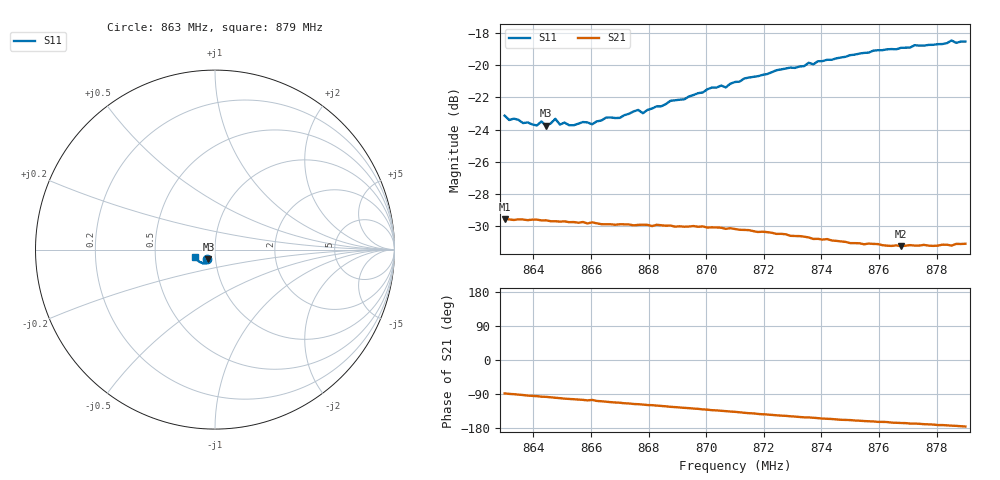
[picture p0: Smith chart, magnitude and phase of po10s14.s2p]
# HZ S RI R 50
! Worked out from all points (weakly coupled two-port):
!   101 points, 863 MHz to 879 MHz, reference 50 ohm
!   highest |S21| = -29.57 dB at 863 MHz (marker M1); lowest = -31.3 dB at 876.76 MHz (marker M2)
!   lowest |S11| = -23.8 dB at 864.44 MHz (marker M3), VSWR 1.14, Z = 46.2 - j4.99 ohm
!   |S11| at or under -10 dB: start of sweep to end of sweep
!   S12 and S22 are empty: the file has one direction only
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8.63e8  -0.0442 -0.0538  0.00105 -0.0332  0 0  0 0
8.6316e8  -0.0431 -0.052  0.000333 -0.0332  0 0  0 0
8.6412e8  -0.0377 -0.0529  -0.0031 -0.033  0 0  0 0
8.6428e8  -0.0379 -0.055  -0.00392 -0.0327  0 0  0 0
8.6444e8  -0.0363 -0.0537  -0.00419 -0.0327  0 0  0 0
8.6476e8  -0.039 -0.0558  -0.00549 -0.0323  0 0  0 0
8.6492e8  -0.0361 -0.0545  -0.00606 -0.0321  0 0  0 0
8.6572e8  -0.0338 -0.0574  -0.00854 -0.0314  0 0  0 0
8.6604e8  -0.0304 -0.058  -0.00858 -0.0313  0 0  0 0
8.6652e8  -0.0334 -0.06  -0.011 -0.0301  0 0  0 0
8.67e8  -0.0325 -0.0604  -0.0124 -0.0295  0 0  0 0
8.6764e8  -0.0349 -0.0636  -0.0143 -0.0285  0 0  0 0
8.678e8  -0.0332 -0.0626  -0.0148 -0.0283  0 0  0 0
8.6844e8  -0.0348 -0.0658  -0.0165 -0.0272  0 0  0 0
8.6876e8  -0.0364 -0.0684  -0.0176 -0.0264  0 0  0 0
8.7068e8  -0.0436 -0.0733  -0.0219 -0.0219  0 0  0 0
8.71e8  -0.0471 -0.0751  -0.0226 -0.0212  0 0  0 0
8.7356e8  -0.0675 -0.0761  -0.0256 -0.0139  0 0  0 0
8.7372e8  -0.067 -0.0751  -0.0255 -0.0134  0 0  0 0
8.7644e8  -0.0927 -0.0632  -0.0265 -0.00696  0 0  0 0
8.7676e8  -0.0959 -0.0602  -0.0266 -0.00651  0 0  0 0
8.79e8  -0.1117 -0.0391  -0.0278 -0.00215  0 0  0 0
